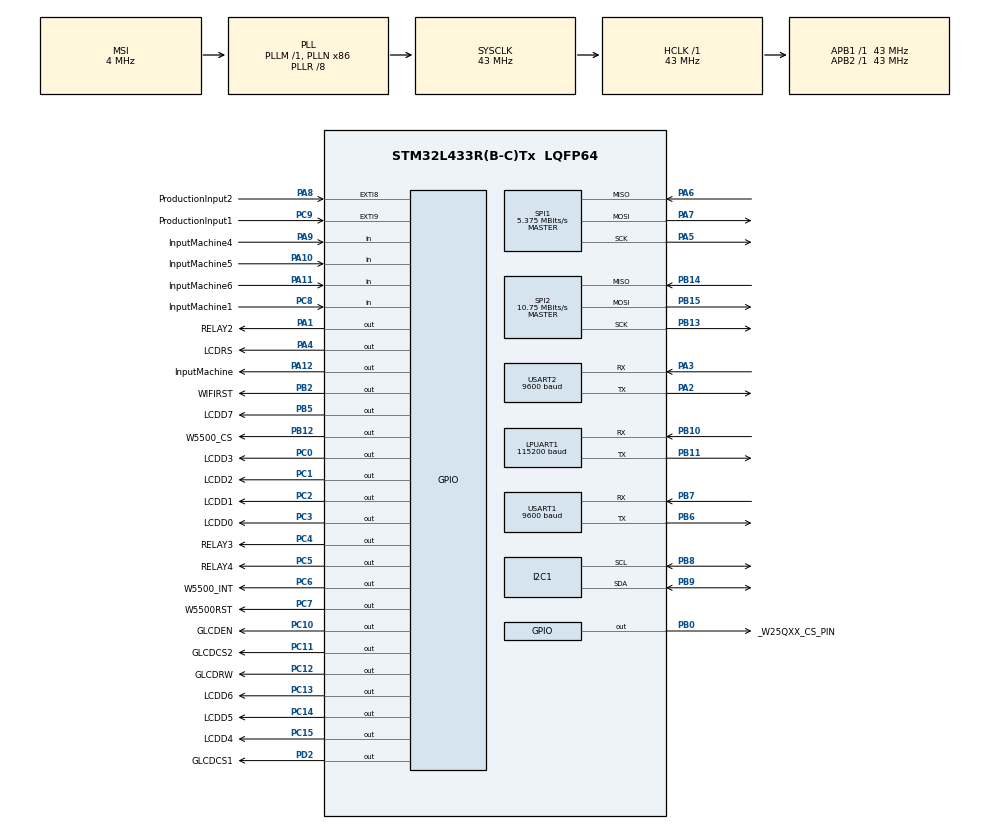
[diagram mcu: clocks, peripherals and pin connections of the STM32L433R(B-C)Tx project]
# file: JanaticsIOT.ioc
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I2C1.Timing=0x00A0A7FD
LPUART1.BaudRate=115200
LPUART1.WordLength=UART_WORDLENGTH_8B
Mcu.Family=STM32L4
Mcu.Name=STM32L433R(B-C)Tx
Mcu.Package=LQFP64
NVIC.EXTI9_5_IRQn=true\:1\:0\:true\:false\:true\:true\:true\:true
NVIC.LPUART1_IRQn=true\:0\:0\:false\:false\:true\:true\:true\:true
NVIC.PriorityGroup=NVIC_PRIORITYGROUP_4
NVIC.TIM6_DAC_IRQn=true\:0\:0\:false\:false\:true\:true\:true\:true
NVIC.TIM7_IRQn=true\:0\:0\:false\:false\:true\:true\:true\:true
NVIC.USART1_IRQn=true\:0\:0\:false\:false\:true\:true\:true\:true
NVIC.USART2_IRQn=true\:0\:0\:false\:false\:true\:true\:true\:true
PA1.GPIO_Label=RELAY2
PA1.Signal=GPIO_Output
PA10.GPIO_Label=InputMachine5
PA10.Signal=GPIO_Input
PA11.GPIO_Label=InputMachine6
PA11.Signal=GPIO_Input
PA12.GPIO_Label=InputMachine
PA12.PinState=GPIO_PIN_SET
PA12.Signal=GPIO_Output
PA2.Mode=Asynchronous
PA2.Signal=USART2_TX
PA3.Mode=Asynchronous
PA3.Signal=USART2_RX
PA4.GPIO_Label=LCDRS
PA4.GPIO_PuPd=GPIO_PULLUP
PA4.Signal=GPIO_Output
PA5.Mode=Full_Duplex_Master
PA5.Signal=SPI1_SCK
PA6.Mode=Full_Duplex_Master
PA6.Signal=SPI1_MISO
PA7.Mode=Full_Duplex_Master
PA7.Signal=SPI1_MOSI
PA8.GPIO_Label=ProductionInput2
PA8.GPIO_ModeDefaultEXTI=GPIO_MODE_IT_FALLING
PA8.Signal=GPXTI8
PA9.GPIO_Label=InputMachine4
PA9.Signal=GPIO_Input
PB0.GPIO_Label=_W25QXX_CS_PIN
PB0.Signal=GPIO_Output
PB10.Mode=Asynchronous
PB10.Signal=LPUART1_RX
PB11.Mode=Asynchronous
PB11.Signal=LPUART1_TX
PB12.GPIO_Label=W5500_CS
PB12.GPIO_Speed=GPIO_SPEED_FREQ_HIGH
PB12.PinState=GPIO_PIN_SET
PB12.Signal=GPIO_Output
PB13.Mode=Full_Duplex_Master
PB13.Signal=SPI2_SCK
PB14.Mode=Full_Duplex_Master
PB14.Signal=SPI2_MISO
PB15.Mode=Full_Duplex_Master
PB15.Signal=SPI2_MOSI
PB2.GPIO_Label=WIFIRST
PB2.Signal=GPIO_Output
PB5.GPIO_Label=LCDD7
PB5.Signal=GPIO_Output
PB6.Mode=Asynchronous
PB6.Signal=USART1_TX
PB7.Mode=Asynchronous
PB7.Signal=USART1_RX
PB8.Mode=I2C
PB8.Signal=I2C1_SCL
PB9.Mode=I2C
PB9.Signal=I2C1_SDA
PC0.GPIO_Label=LCDD3
PC0.GPIO_PuPd=GPIO_NOPULL
PC0.Signal=GPIO_Output
PC1.GPIO_Label=LCDD2
PC1.GPIO_PuPd=GPIO_NOPULL
PC1.Signal=GPIO_Output
PC10.GPIO_Label=GLCDEN
PC10.GPIO_PuPd=GPIO_PULLUP
PC10.Signal=GPIO_Output
PC11.GPIO_Label=GLCDCS2
PC11.GPIO_PuPd=GPIO_PULLUP
PC11.Signal=GPIO_Output
PC12.GPIO_Label=GLCDRW
PC12.GPIO_PuPd=GPIO_PULLUP
PC12.Signal=GPIO_Output
PC13.GPIO_Label=LCDD6
PC13.GPIO_PuPd=GPIO_NOPULL
PC13.Signal=GPIO_Output
PC14-OSC32_IN\ (PC14).GPIO_Label=LCDD5
PC14-OSC32_IN\ (PC14).GPIO_PuPd=GPIO_NOPULL
PC14-OSC32_IN\ (PC14).Signal=GPIO_Output
PC15-OSC32_OUT\ (PC15).GPIO_Label=LCDD4
PC15-OSC32_OUT\ (PC15).GPIO_PuPd=GPIO_NOPULL
PC15-OSC32_OUT\ (PC15).Signal=GPIO_Output
PC2.GPIO_Label=LCDD1
PC2.GPIO_PuPd=GPIO_NOPULL
PC2.Signal=GPIO_Output
PC3.GPIO_Label=LCDD0
PC3.GPIO_PuPd=GPIO_NOPULL
PC3.Signal=GPIO_Output
PC4.GPIO_Label=RELAY3
PC4.Signal=GPIO_Output
PC5.GPIO_Label=RELAY4
PC5.Signal=GPIO_Output
PC6.GPIO_Label=W5500_INT
PC6.Signal=GPIO_Output
PC7.GPIO_Label=W5500RST
PC7.PinState=GPIO_PIN_SET
PC7.Signal=GPIO_Output
PC8.GPIO_Label=InputMachine1
PC8.Signal=GPIO_Input
PC9.GPIO_Label=ProductionInput1
PC9.GPIO_ModeDefaultEXTI=GPIO_MODE_IT_FALLING
PC9.Signal=GPXTI9
PD2.GPIO_Label=GLCDCS1
PD2.GPIO_PuPd=GPIO_PULLUP
PD2.Signal=GPIO_Output
ProjectManager.HeapSize=0x200
ProjectManager.StackSize=0x400
ProjectManager.TargetToolchain=STM32CubeIDE
RCC.AHBFreq_Value=43000000
RCC.APB1Freq_Value=43000000
RCC.APB1TimFreq_Value=43000000
RCC.APB2Freq_Value=43000000
RCC.APB2TimFreq_Value=43000000
RCC.CortexFreq_Value=43000000
RCC.HCLKFreq_Value=43000000
RCC.HSE_VALUE=8000000
RCC.HSI48_VALUE=48000000
RCC.HSI_VALUE=16000000
RCC.LSE_VALUE=32768
RCC.MSI_VALUE=4000000
RCC.PLLN=86
RCC.PLLR=RCC_PLLR_DIV8
RCC.SYSCLKFreq_VALUE=43000000
RCC.SYSCLKSource=RCC_SYSCLKSOURCE_PLLCLK
RCC.VCOOutputFreq_Value=344000000
SPI1.BaudRatePrescaler=SPI_BAUDRATEPRESCALER_8
SPI1.CalculateBaudRate=5.375 MBits/s
SPI1.DataSize=SPI_DATASIZE_8BIT
SPI1.Direction=SPI_DIRECTION_2LINES
SPI1.Mode=SPI_MODE_MASTER
SPI1.VirtualType=VM_MASTER
SPI2.BaudRatePrescaler=SPI_BAUDRATEPRESCALER_4
SPI2.CalculateBaudRate=10.75 MBits/s
SPI2.Direction=SPI_DIRECTION_2LINES
SPI2.Mode=SPI_MODE_MASTER
SPI2.VirtualType=VM_MASTER
TIM6.Period=100
TIM6.Prescaler=43000-1
TIM7.Period=1000
TIM7.Prescaler=43000-1
USART1.BaudRate=9600
USART1.VirtualMode-Asynchronous=VM_ASYNC
USART2.BaudRate=9600
USART2.VirtualMode-Asynchronous=VM_ASYNC
VP_TIM1_VS_ClockSourceINT.Mode=Internal
VP_TIM6_VS_ClockSourceINT.Mode=Enable_Timer
VP_TIM7_VS_ClockSourceINT.Mode=Enable_Timer
board=custom

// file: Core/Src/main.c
/* USER CODE BEGIN Header */
/**
  ******************************************************************************
  * @file           : main.c
  * @brief          : Main program body
  ******************************************************************************
  * @attention
  *
  * Copyright (c) 2022 STMicroelectronics.
  * All rights reserved.
  *
  * This software is licensed under terms that can be found in the LICENSE file
  * in the root directory of this software component.
  * If no LICENSE file comes with this software, it is provided AS-IS.
  *
  ******************************************************************************
  */
/* USER CODE END Header */
#include "main.h"

/* USER CODE BEGIN Includes */
//#include "w5500_spi.h"
//#include "wizchip_conf.h"
#include "w25qxx.h"
#include "ds1307.h"
/* USER CODE END Includes */

I2C_HandleTypeDef hi2c1;

UART_HandleTypeDef hlpuart1;
UART_HandleTypeDef huart1;
UART_HandleTypeDef huart2;

SPI_HandleTypeDef hspi1;
SPI_HandleTypeDef hspi2;

TIM_HandleTypeDef htim1;
TIM_HandleTypeDef htim6;
TIM_HandleTypeDef htim7;

/* USER CODE BEGIN PV */
// Default Network Configuration //
#if 0
wiz_NetInfo gWIZNETINFO = { .mac = {0x00, 0x08, 0xdc,0x00, 0xab, 0xcd},
                            .ip = {192, 168, 0, 21},
                            .sn = {255,255,255,0},
                            .gw = {192, 168, 0, 127},
                            .dns = {192,168,0,50},
                            .dhcp = NETINFO_STATIC };

wiz_NetInfo checkgWIZNETINFO;
#endif
uint8_t tmpstr[6];
uint8_t test_aa;
uint8_t tmp;

/* USER CODE END PV */

void SystemClock_Config(void);
static void MX_GPIO_Init(void);
static void MX_USART2_UART_Init(void);
static void MX_I2C1_Init(void);
static void MX_USART1_UART_Init(void);
static void MX_TIM6_Init(void);
static void MX_SPI2_Init(void);
static void MX_TIM1_Init(void);
static void MX_LPUART1_UART_Init(void);
static void MX_SPI1_Init(void);
static void MX_TIM7_Init(void);

/* USER CODE BEGIN 0 */
extern void displayon(void);
extern void setstartline(unsigned char z);
extern void clrlcd();
extern void lcdputs1(unsigned char y,unsigned char x,unsigned char *str);
unsigned char data[250];
unsigned int i;
unsigned char Txcomplete;
uint8_t rxTempBuff[5];
uint8_t rxDwinBuff[5];
uint8_t check_w,check_r;
uint8_t testvariable[8]={1,2,3,4,5,6,7,8};
uint8_t testvariable1[8];

/* USER CODE END 0 */

int main(void)
{

  /* MCU Configuration--------------------------------------------------------*/

  /* Reset of all peripherals, Initializes the Flash interface and the Systick. */
  HAL_Init();

  /* Configure the system clock */
  SystemClock_Config();

  /* Initialize all configured peripherals */
  MX_GPIO_Init();
  MX_USART2_UART_Init();
  MX_I2C1_Init();
  MX_USART1_UART_Init();
  MX_TIM6_Init();
  MX_SPI2_Init();
  MX_TIM1_Init();
  MX_LPUART1_UART_Init();
  MX_SPI1_Init();
  MX_TIM7_Init();
  /* USER CODE BEGIN 2 */
  HAL_TIM_Base_Start_IT(&htim6);
  HAL_TIM_Base_Start_IT(&htim7);
  HAL_TIM_Base_Start(&htim1);
  /* USER CODE END 2 */

  /* Infinite loop */
  /* USER CODE BEGIN WHILE */
//  displayon();
//  setstartline(0);
//  clrlcd();
//  lcdputs1(0,1,arg0);
//  for(i=0;i<=250;i++)
//  {
//	  data[i]=i;
//  }

  HAL_GPIO_WritePin(GPIOA, GPIO_PIN_12, GPIO_PIN_RESET);
  HAL_Delay(2);
  HAL_GPIO_WritePin(GPIOA, GPIO_PIN_12, GPIO_PIN_SET);
#if 0
  wiz5500Init();
  ctlnetwork(CN_SET_NETINFO, (void*)&gWIZNETINFO);
  HAL_Delay(1);
  ctlnetwork(CN_GET_NETINFO, (void*)&gWIZNETINFO);

  ctlwizchip(CW_GET_ID,(void*)tmpstr);

  if(ctlwizchip(CW_GET_PHYLINK, (void*)&tmp) == -1)
  {
	  while(1);
  }
#endif
 // HAL_UART_Transmit_IT(&huart1,data,sizeof(data));
  HAL_UART_Receive_IT(&hlpuart1,rxTempBuff,1);
  HAL_UART_Receive_IT(&huart2,rxDwinBuff,1);
  W25qxx_Init();
  //rtc_set_time(13,14,30);
  //rtc_set_date(2,20,2,23);
  while (1)
  {
	  cppMain();
//	  HAL_Delay(500);
//	  HAL_GPIO_TogglePin(GPIOA, RELAY2_Pin);
//	  if(Txcomplete)
//	  {
//		  Txcomplete=0;
//		  HAL_UART_Transmit_IT(&huart1,data,sizeof(data));
//	  }

    /* USER CODE END WHILE */

  }
}

void SystemClock_Config(void)
{
  RCC_OscInitTypeDef RCC_OscInitStruct = {0};
  RCC_ClkInitTypeDef RCC_ClkInitStruct = {0};

  /** Configure the main internal regulator output voltage
  */
  if (HAL_PWREx_ControlVoltageScaling(PWR_REGULATOR_VOLTAGE_SCALE1) != HAL_OK)
  {
    Error_Handler();
  }

  /** Initializes the RCC Oscillators according to the specified parameters
  * in the RCC_OscInitTypeDef structure.
  */
  RCC_OscInitStruct.OscillatorType = RCC_OSCILLATORTYPE_MSI;
  RCC_OscInitStruct.MSIState = RCC_MSI_ON;
  RCC_OscInitStruct.MSICalibrationValue = 0;
  RCC_OscInitStruct.MSIClockRange = RCC_MSIRANGE_6;
  RCC_OscInitStruct.PLL.PLLState = RCC_PLL_ON;
  RCC_OscInitStruct.PLL.PLLSource = RCC_PLLSOURCE_MSI;
  RCC_OscInitStruct.PLL.PLLM = 1;
  RCC_OscInitStruct.PLL.PLLN = 86;
  RCC_OscInitStruct.PLL.PLLP = RCC_PLLP_DIV7;
  RCC_OscInitStruct.PLL.PLLQ = RCC_PLLQ_DIV2;
  RCC_OscInitStruct.PLL.PLLR = RCC_PLLR_DIV8;
  if (HAL_RCC_OscConfig(&RCC_OscInitStruct) != HAL_OK)
  {
    Error_Handler();
  }

  /** Initializes the CPU, AHB and APB buses clocks
  */
  RCC_ClkInitStruct.ClockType = RCC_CLOCKTYPE_HCLK|RCC_CLOCKTYPE_SYSCLK
                              |RCC_CLOCKTYPE_PCLK1|RCC_CLOCKTYPE_PCLK2;
  RCC_ClkInitStruct.SYSCLKSource = RCC_SYSCLKSOURCE_PLLCLK;
  RCC_ClkInitStruct.AHBCLKDivider = RCC_SYSCLK_DIV1;
  RCC_ClkInitStruct.APB1CLKDivider = RCC_HCLK_DIV1;
  RCC_ClkInitStruct.APB2CLKDivider = RCC_HCLK_DIV1;

  if (HAL_RCC_ClockConfig(&RCC_ClkInitStruct, FLASH_LATENCY_2) != HAL_OK)
  {
    Error_Handler();
  }
}

static void MX_I2C1_Init(void)
{

  hi2c1.Instance = I2C1;
  hi2c1.Init.Timing = 0x00A0A7FD;
  hi2c1.Init.OwnAddress1 = 0;
  hi2c1.Init.AddressingMode = I2C_ADDRESSINGMODE_7BIT;
  hi2c1.Init.DualAddressMode = I2C_DUALADDRESS_DISABLE;
  hi2c1.Init.OwnAddress2 = 0;
  hi2c1.Init.OwnAddress2Masks = I2C_OA2_NOMASK;
  hi2c1.Init.GeneralCallMode = I2C_GENERALCALL_DISABLE;
  hi2c1.Init.NoStretchMode = I2C_NOSTRETCH_DISABLE;
  if (HAL_I2C_Init(&hi2c1) != HAL_OK)
  {
    Error_Handler();
  }

  /** Configure Analogue filter
  */
  if (HAL_I2CEx_ConfigAnalogFilter(&hi2c1, I2C_ANALOGFILTER_ENABLE) != HAL_OK)
  {
    Error_Handler();
  }

  /** Configure Digital filter
  */
  if (HAL_I2CEx_ConfigDigitalFilter(&hi2c1, 0) != HAL_OK)
  {
    Error_Handler();
  }

}

static void MX_LPUART1_UART_Init(void)
{

  hlpuart1.Instance = LPUART1;
  hlpuart1.Init.BaudRate = 115200;
  hlpuart1.Init.WordLength = UART_WORDLENGTH_8B;
  hlpuart1.Init.StopBits = UART_STOPBITS_1;
  hlpuart1.Init.Parity = UART_PARITY_NONE;
  hlpuart1.Init.Mode = UART_MODE_TX_RX;
  hlpuart1.Init.HwFlowCtl = UART_HWCONTROL_NONE;
  hlpuart1.Init.OneBitSampling = UART_ONE_BIT_SAMPLE_DISABLE;
  hlpuart1.AdvancedInit.AdvFeatureInit = UART_ADVFEATURE_NO_INIT;
  if (HAL_UART_Init(&hlpuart1) != HAL_OK)
  {
    Error_Handler();
  }

}

static void MX_USART1_UART_Init(void)
{

  huart1.Instance = USART1;
  huart1.Init.BaudRate = 9600;
  huart1.Init.WordLength = UART_WORDLENGTH_8B;
  huart1.Init.StopBits = UART_STOPBITS_1;
  huart1.Init.Parity = UART_PARITY_NONE;
  huart1.Init.Mode = UART_MODE_TX_RX;
  huart1.Init.HwFlowCtl = UART_HWCONTROL_NONE;
  huart1.Init.OverSampling = UART_OVERSAMPLING_16;
  huart1.Init.OneBitSampling = UART_ONE_BIT_SAMPLE_DISABLE;
  huart1.AdvancedInit.AdvFeatureInit = UART_ADVFEATURE_NO_INIT;
  if (HAL_UART_Init(&huart1) != HAL_OK)
  {
    Error_Handler();
  }

}

static void MX_USART2_UART_Init(void)
{

  huart2.Instance = USART2;
  huart2.Init.BaudRate = 9600;
  huart2.Init.WordLength = UART_WORDLENGTH_8B;
  huart2.Init.StopBits = UART_STOPBITS_1;
  huart2.Init.Parity = UART_PARITY_NONE;
  huart2.Init.Mode = UART_MODE_TX_RX;
  huart2.Init.HwFlowCtl = UART_HWCONTROL_NONE;
  huart2.Init.OverSampling = UART_OVERSAMPLING_16;
  huart2.Init.OneBitSampling = UART_ONE_BIT_SAMPLE_DISABLE;
  huart2.AdvancedInit.AdvFeatureInit = UART_ADVFEATURE_NO_INIT;
  if (HAL_UART_Init(&huart2) != HAL_OK)
  {
    Error_Handler();
  }

}

static void MX_SPI1_Init(void)
{

  /* SPI1 parameter configuration*/
  hspi1.Instance = SPI1;
  hspi1.Init.Mode = SPI_MODE_MASTER;
  hspi1.Init.Direction = SPI_DIRECTION_2LINES;
  hspi1.Init.DataSize = SPI_DATASIZE_8BIT;
  hspi1.Init.CLKPolarity = SPI_POLARITY_LOW;
  hspi1.Init.CLKPhase = SPI_PHASE_1EDGE;
  hspi1.Init.NSS = SPI_NSS_SOFT;
  hspi1.Init.BaudRatePrescaler = SPI_BAUDRATEPRESCALER_8;
  hspi1.Init.FirstBit = SPI_FIRSTBIT_MSB;
  hspi1.Init.TIMode = SPI_TIMODE_DISABLE;
  hspi1.Init.CRCCalculation = SPI_CRCCALCULATION_DISABLE;
  hspi1.Init.CRCPolynomial = 7;
  hspi1.Init.CRCLength = SPI_CRC_LENGTH_DATASIZE;
  hspi1.Init.NSSPMode = SPI_NSS_PULSE_ENABLE;
  if (HAL_SPI_Init(&hspi1) != HAL_OK)
  {
    Error_Handler();
  }
  /* USER CODE BEGIN SPI1_Init 2 */
  __HAL_SPI_ENABLE(&hspi2);
  /* USER CODE END SPI1_Init 2 */

}

static void MX_SPI2_Init(void)
{

  /* SPI2 parameter configuration*/
  hspi2.Instance = SPI2;
  hspi2.Init.Mode = SPI_MODE_MASTER;
  hspi2.Init.Direction = SPI_DIRECTION_2LINES;
  hspi2.Init.DataSize = SPI_DATASIZE_4BIT;
  hspi2.Init.CLKPolarity = SPI_POLARITY_LOW;
  hspi2.Init.CLKPhase = SPI_PHASE_1EDGE;
  hspi2.Init.NSS = SPI_NSS_SOFT;
  hspi2.Init.BaudRatePrescaler = SPI_BAUDRATEPRESCALER_4;
  hspi2.Init.FirstBit = SPI_FIRSTBIT_MSB;
  hspi2.Init.TIMode = SPI_TIMODE_DISABLE;
  hspi2.Init.CRCCalculation = SPI_CRCCALCULATION_DISABLE;
  hspi2.Init.CRCPolynomial = 7;
  hspi2.Init.CRCLength = SPI_CRC_LENGTH_DATASIZE;
  hspi2.Init.NSSPMode = SPI_NSS_PULSE_ENABLE;
  if (HAL_SPI_Init(&hspi2) != HAL_OK)
  {
    Error_Handler();
  }
  /* USER CODE BEGIN SPI2_Init 2 */
  __HAL_SPI_ENABLE(&hspi1);
  /* USER CODE END SPI2_Init 2 */

}

static void MX_TIM1_Init(void)
{

  TIM_ClockConfigTypeDef sClockSourceConfig = {0};
  TIM_MasterConfigTypeDef sMasterConfig = {0};

  htim1.Instance = TIM1;
  htim1.Init.Prescaler = 0;
  htim1.Init.CounterMode = TIM_COUNTERMODE_UP;
  htim1.Init.Period = 65535;
  htim1.Init.ClockDivision = TIM_CLOCKDIVISION_DIV1;
  htim1.Init.RepetitionCounter = 0;
  htim1.Init.AutoReloadPreload = TIM_AUTORELOAD_PRELOAD_DISABLE;
  if (HAL_TIM_Base_Init(&htim1) != HAL_OK)
  {
    Error_Handler();
  }
  sClockSourceConfig.ClockSource = TIM_CLOCKSOURCE_INTERNAL;
  if (HAL_TIM_ConfigClockSource(&htim1, &sClockSourceConfig) != HAL_OK)
  {
    Error_Handler();
  }
  sMasterConfig.MasterOutputTrigger = TIM_TRGO_RESET;
  sMasterConfig.MasterOutputTrigger2 = TIM_TRGO2_RESET;
  sMasterConfig.MasterSlaveMode = TIM_MASTERSLAVEMODE_DISABLE;
  if (HAL_TIMEx_MasterConfigSynchronization(&htim1, &sMasterConfig) != HAL_OK)
  {
    Error_Handler();
  }

}

static void MX_TIM6_Init(void)
{

  TIM_MasterConfigTypeDef sMasterConfig = {0};

  htim6.Instance = TIM6;
  htim6.Init.Prescaler = 43000-1;
  htim6.Init.CounterMode = TIM_COUNTERMODE_UP;
  htim6.Init.Period = 100;
  htim6.Init.AutoReloadPreload = TIM_AUTORELOAD_PRELOAD_DISABLE;
  if (HAL_TIM_Base_Init(&htim6) != HAL_OK)
  {
    Error_Handler();
  }
  sMasterConfig.MasterOutputTrigger = TIM_TRGO_RESET;
  sMasterConfig.MasterSlaveMode = TIM_MASTERSLAVEMODE_DISABLE;
  if (HAL_TIMEx_MasterConfigSynchronization(&htim6, &sMasterConfig) != HAL_OK)
  {
    Error_Handler();
  }

}

static void MX_TIM7_Init(void)
{

  TIM_MasterConfigTypeDef sMasterConfig = {0};

  htim7.Instance = TIM7;
  htim7.Init.Prescaler = 43000-1;
  htim7.Init.CounterMode = TIM_COUNTERMODE_UP;
  htim7.Init.Period = 1000;
  htim7.Init.AutoReloadPreload = TIM_AUTORELOAD_PRELOAD_DISABLE;
  if (HAL_TIM_Base_Init(&htim7) != HAL_OK)
  {
    Error_Handler();
  }
  sMasterConfig.MasterOutputTrigger = TIM_TRGO_RESET;
  sMasterConfig.MasterSlaveMode = TIM_MASTERSLAVEMODE_DISABLE;
  if (HAL_TIMEx_MasterConfigSynchronization(&htim7, &sMasterConfig) != HAL_OK)
  {
    Error_Handler();
  }

}

static void MX_GPIO_Init(void)
{
  GPIO_InitTypeDef GPIO_InitStruct = {0};

  /* GPIO Ports Clock Enable */
  __HAL_RCC_GPIOC_CLK_ENABLE();
  __HAL_RCC_GPIOA_CLK_ENABLE();
  __HAL_RCC_GPIOB_CLK_ENABLE();
  __HAL_RCC_GPIOD_CLK_ENABLE();

  /*Configure GPIO pin Output Level */
  HAL_GPIO_WritePin(GPIOC, LCDD6_Pin|LCDD5_Pin|LCDD4_Pin|LCDD3_Pin
                          |LCDD2_Pin|LCDD1_Pin|LCDD0_Pin|RELAY3_Pin
                          |RELAY4_Pin|W5500_INT_Pin|GLCDEN_Pin|GLCDCS2_Pin
                          |GLCDRW_Pin, GPIO_PIN_RESET);

  /*Configure GPIO pin Output Level */
  HAL_GPIO_WritePin(GPIOA, RELAY2_Pin|LCDRS_Pin, GPIO_PIN_RESET);

  /*Configure GPIO pin Output Level */
  HAL_GPIO_WritePin(GPIOB, _W25QXX_CS_PIN_Pin|WIFIRST_Pin|LCDD7_Pin, GPIO_PIN_RESET);

  /*Configure GPIO pin Output Level */
  HAL_GPIO_WritePin(W5500_CS_GPIO_Port, W5500_CS_Pin, GPIO_PIN_SET);

  /*Configure GPIO pin Output Level */
  HAL_GPIO_WritePin(W5500RST_GPIO_Port, W5500RST_Pin, GPIO_PIN_SET);

  /*Configure GPIO pin Output Level */
  HAL_GPIO_WritePin(InputMachine_GPIO_Port, InputMachine_Pin, GPIO_PIN_SET);

  /*Configure GPIO pin Output Level */
  HAL_GPIO_WritePin(GLCDCS1_GPIO_Port, GLCDCS1_Pin, GPIO_PIN_RESET);

  /*Configure GPIO pins : LCDD6_Pin LCDD5_Pin LCDD4_Pin LCDD3_Pin
                           LCDD2_Pin LCDD1_Pin LCDD0_Pin RELAY3_Pin
                           RELAY4_Pin W5500_INT_Pin W5500RST_Pin */
  GPIO_InitStruct.Pin = LCDD6_Pin|LCDD5_Pin|LCDD4_Pin|LCDD3_Pin
                          |LCDD2_Pin|LCDD1_Pin|LCDD0_Pin|RELAY3_Pin
                          |RELAY4_Pin|W5500_INT_Pin|W5500RST_Pin;
  GPIO_InitStruct.Mode = GPIO_MODE_OUTPUT_PP;
  GPIO_InitStruct.Pull = GPIO_NOPULL;
  GPIO_InitStruct.Speed = GPIO_SPEED_FREQ_LOW;
  HAL_GPIO_Init(GPIOC, &GPIO_InitStruct);

  /*Configure GPIO pins : RELAY2_Pin InputMachine_Pin */
  GPIO_InitStruct.Pin = RELAY2_Pin|InputMachine_Pin;
  GPIO_InitStruct.Mode = GPIO_MODE_OUTPUT_PP;
  GPIO_InitStruct.Pull = GPIO_NOPULL;
  GPIO_InitStruct.Speed = GPIO_SPEED_FREQ_LOW;
  HAL_GPIO_Init(GPIOA, &GPIO_InitStruct);

  /*Configure GPIO pin : LCDRS_Pin */
  GPIO_InitStruct.Pin = LCDRS_Pin;
  GPIO_InitStruct.Mode = GPIO_MODE_OUTPUT_PP;
  GPIO_InitStruct.Pull = GPIO_PULLUP;
  GPIO_InitStruct.Speed = GPIO_SPEED_FREQ_LOW;
  HAL_GPIO_Init(LCDRS_GPIO_Port, &GPIO_InitStruct);

  /*Configure GPIO pins : _W25QXX_CS_PIN_Pin WIFIRST_Pin LCDD7_Pin */
  GPIO_InitStruct.Pin = _W25QXX_CS_PIN_Pin|WIFIRST_Pin|LCDD7_Pin;
  GPIO_InitStruct.Mode = GPIO_MODE_OUTPUT_PP;
  GPIO_InitStruct.Pull = GPIO_NOPULL;
  GPIO_InitStruct.Speed = GPIO_SPEED_FREQ_LOW;
  HAL_GPIO_Init(GPIOB, &GPIO_InitStruct);

  /*Configure GPIO pin : W5500_CS_Pin */
  GPIO_InitStruct.Pin = W5500_CS_Pin;
  GPIO_InitStruct.Mode = GPIO_MODE_OUTPUT_PP;
  GPIO_InitStruct.Pull = GPIO_NOPULL;
  GPIO_InitStruct.Speed = GPIO_SPEED_FREQ_HIGH;
  HAL_GPIO_Init(W5500_CS_GPIO_Port, &GPIO_InitStruct);

  /*Configure GPIO pin : InputMachine1_Pin */
  GPIO_InitStruct.Pin = InputMachine1_Pin;
  GPIO_InitStruct.Mode = GPIO_MODE_INPUT;
  GPIO_InitStruct.Pull = GPIO_NOPULL;
  HAL_GPIO_Init(InputMachine1_GPIO_Port, &GPIO_InitStruct);

  /*Configure GPIO pin : ProductionInput1_Pin */
  GPIO_InitStruct.Pin = ProductionInput1_Pin;
  GPIO_InitStruct.Mode = GPIO_MODE_IT_FALLING;
  GPIO_InitStruct.Pull = GPIO_NOPULL;
  HAL_GPIO_Init(ProductionInput1_GPIO_Port, &GPIO_InitStruct);

  /*Configure GPIO pin : ProductionInput2_Pin */
  GPIO_InitStruct.Pin = ProductionInput2_Pin;
  GPIO_InitStruct.Mode = GPIO_MODE_IT_FALLING;
  GPIO_InitStruct.Pull = GPIO_NOPULL;
  HAL_GPIO_Init(ProductionInput2_GPIO_Port, &GPIO_InitStruct);

  /*Configure GPIO pins : InputMachine4_Pin InputMachine5_Pin InputMachine6_Pin */
  GPIO_InitStruct.Pin = InputMachine4_Pin|InputMachine5_Pin|InputMachine6_Pin;
  GPIO_InitStruct.Mode = GPIO_MODE_INPUT;
  GPIO_InitStruct.Pull = GPIO_NOPULL;
  HAL_GPIO_Init(GPIOA, &GPIO_InitStruct);

  /*Configure GPIO pins : GLCDEN_Pin GLCDCS2_Pin GLCDRW_Pin */
  GPIO_InitStruct.Pin = GLCDEN_Pin|GLCDCS2_Pin|GLCDRW_Pin;
  GPIO_InitStruct.Mode = GPIO_MODE_OUTPUT_PP;
  GPIO_InitStruct.Pull = GPIO_PULLUP;
  GPIO_InitStruct.Speed = GPIO_SPEED_FREQ_LOW;
  HAL_GPIO_Init(GPIOC, &GPIO_InitStruct);

  /*Configure GPIO pin : GLCDCS1_Pin */
  GPIO_InitStruct.Pin = GLCDCS1_Pin;
  GPIO_InitStruct.Mode = GPIO_MODE_OUTPUT_PP;
  GPIO_InitStruct.Pull = GPIO_PULLUP;
  GPIO_InitStruct.Speed = GPIO_SPEED_FREQ_LOW;
  HAL_GPIO_Init(GLCDCS1_GPIO_Port, &GPIO_InitStruct);

  /* EXTI interrupt init*/
  HAL_NVIC_SetPriority(EXTI9_5_IRQn, 1, 0);
  HAL_NVIC_EnableIRQ(EXTI9_5_IRQn);

}

void Error_Handler(void)
{
  __disable_irq();
  while (1)
  {
  }
}
